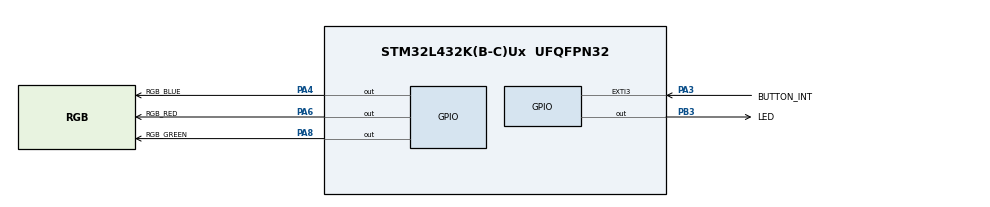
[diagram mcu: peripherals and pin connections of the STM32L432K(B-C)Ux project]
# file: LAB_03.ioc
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Mcu.Family=STM32L4
Mcu.Name=STM32L432K(B-C)Ux
Mcu.Package=UFQFPN32
NVIC.EXTI3_IRQn=true\:0\:0\:false\:false\:true\:true\:true
NVIC.PriorityGroup=NVIC_PRIORITYGROUP_4
PA13\ (JTMS-SWDIO).Mode=Serial_Wire
PA13\ (JTMS-SWDIO).Signal=SYS_JTMS-SWDIO
PA14\ (JTCK-SWCLK).Mode=Serial_Wire
PA14\ (JTCK-SWCLK).Signal=SYS_JTCK-SWCLK
PA3.GPIO_Label=BUTTON_INT
PA3.Signal=GPXTI3
PA4.GPIO_Label=RGB_BLUE
PA4.GPIO_Speed=GPIO_SPEED_FREQ_HIGH
PA4.Signal=GPIO_Output
PA6.GPIO_Label=RGB_RED
PA6.GPIO_Speed=GPIO_SPEED_FREQ_HIGH
PA6.Signal=GPIO_Output
PA8.GPIO_Label=RGB_GREEN
PA8.GPIO_Speed=GPIO_SPEED_FREQ_HIGH
PA8.Signal=GPIO_Output
PB3\ (JTDO-TRACESWO).GPIO_Label=LED
PB3\ (JTDO-TRACESWO).Signal=GPIO_Output
ProjectManager.HeapSize=0x200
ProjectManager.StackSize=0x400
ProjectManager.TargetToolchain=STM32CubeIDE
RCC.HSE_VALUE=8000000
RCC.HSI48_VALUE=48000000
RCC.HSI_VALUE=16000000
RCC.LSE_VALUE=32768
RCC.MSI_VALUE=4000000
RCC.VCOOutputFreq_Value=32000000
board=custom

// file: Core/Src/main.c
/* USER CODE BEGIN Header */
/**
  ******************************************************************************
  * @file           : main.c
  * @brief          : Main program body
  ******************************************************************************
  * @attention
  *
  * <h2><center>&copy; Copyright (c) 2021 STMicroelectronics.
  * All rights reserved.</center></h2>
  *
  * This software component is licensed by ST under BSD 3-Clause license,
  * the "License"; You may not use this file except in compliance with the
  * License. You may obtain a copy of the License at:
  *                        opensource.org/licenses/BSD-3-Clause
  *
  ******************************************************************************
  */
/* USER CODE END Header */
#include "main.h"

/* USER CODE BEGIN PV */
uint8_t flag = 0;
uint8_t switcher = 0;
GPIO_TypeDef * current_Port = 0;
uint16_t current_Pin = 0;
enum switcher {
		RED,
		GREEN,
		BLUE
};
/* USER CODE END PV */

void SystemClock_Config(void);
static void MX_GPIO_Init(void);

int main(void)
{

  /* MCU Configuration--------------------------------------------------------*/

  /* Reset of all peripherals, Initializes the Flash interface and the Systick. */
  HAL_Init();

  /* Configure the system clock */
  SystemClock_Config();

  /* Initialize all configured peripherals */
  MX_GPIO_Init();
  /* USER CODE BEGIN 2 */
  HAL_GPIO_WritePin(RGB_RED_GPIO_Port, RGB_RED_Pin, GPIO_PIN_SET);
  HAL_GPIO_WritePin(RGB_GREEN_GPIO_Port, RGB_GREEN_Pin, GPIO_PIN_SET);
  HAL_GPIO_WritePin(RGB_BLUE_GPIO_Port, RGB_BLUE_Pin, GPIO_PIN_SET);
  /* USER CODE END 2 */

  /* Infinite loop */
  /* USER CODE BEGIN WHILE */
  while (1)
  {
	  if (flag) {
		  // Deactivate previous LED
		  HAL_GPIO_WritePin(current_Port, current_Pin, GPIO_PIN_SET);
		  // Set next LED
		  switch(switcher) {
		  	  case RED:
		  		  current_Port = RGB_RED_GPIO_Port;
		  		  current_Pin = RGB_RED_Pin;
		  		  break;
		  	  case GREEN:
		  		  current_Port = RGB_GREEN_GPIO_Port;
		  		  current_Pin = RGB_GREEN_Pin;
		  		  break;
		  	  case BLUE:
		  		  current_Port = RGB_BLUE_GPIO_Port;
		  		  current_Pin = RGB_BLUE_Pin;
		  		  break;
		  	  }
		  // Activate current LED
		  HAL_GPIO_WritePin(current_Port, current_Pin, GPIO_PIN_RESET);
//		  HAL_GPIO_TogglePin(LED_GPIO_Port, LED_Pin);
		  flag = 0;
		  if(switcher == 3) {
			  HAL_GPIO_WritePin(current_Port, current_Pin, GPIO_PIN_SET);
		  }
		  switcher++;
		  if(switcher > 3) {
			  switcher = 0;
		  }
	  }
    /* USER CODE END WHILE */

  }
}

void SystemClock_Config(void)
{
  RCC_OscInitTypeDef RCC_OscInitStruct = {0};
  RCC_ClkInitTypeDef RCC_ClkInitStruct = {0};

  /** Configure the main internal regulator output voltage
  */
  if (HAL_PWREx_ControlVoltageScaling(PWR_REGULATOR_VOLTAGE_SCALE1) != HAL_OK)
  {
    Error_Handler();
  }
  /** Initializes the RCC Oscillators according to the specified parameters
  * in the RCC_OscInitTypeDef structure.
  */
  RCC_OscInitStruct.OscillatorType = RCC_OSCILLATORTYPE_MSI;
  RCC_OscInitStruct.MSIState = RCC_MSI_ON;
  RCC_OscInitStruct.MSICalibrationValue = 0;
  RCC_OscInitStruct.MSIClockRange = RCC_MSIRANGE_6;
  RCC_OscInitStruct.PLL.PLLState = RCC_PLL_NONE;
  if (HAL_RCC_OscConfig(&RCC_OscInitStruct) != HAL_OK)
  {
    Error_Handler();
  }
  /** Initializes the CPU, AHB and APB buses clocks
  */
  RCC_ClkInitStruct.ClockType = RCC_CLOCKTYPE_HCLK|RCC_CLOCKTYPE_SYSCLK
                              |RCC_CLOCKTYPE_PCLK1|RCC_CLOCKTYPE_PCLK2;
  RCC_ClkInitStruct.SYSCLKSource = RCC_SYSCLKSOURCE_MSI;
  RCC_ClkInitStruct.AHBCLKDivider = RCC_SYSCLK_DIV1;
  RCC_ClkInitStruct.APB1CLKDivider = RCC_HCLK_DIV1;
  RCC_ClkInitStruct.APB2CLKDivider = RCC_HCLK_DIV1;

  if (HAL_RCC_ClockConfig(&RCC_ClkInitStruct, FLASH_LATENCY_0) != HAL_OK)
  {
    Error_Handler();
  }
}

static void MX_GPIO_Init(void)
{
  GPIO_InitTypeDef GPIO_InitStruct = {0};

  /* GPIO Ports Clock Enable */
  __HAL_RCC_GPIOA_CLK_ENABLE();
  __HAL_RCC_GPIOB_CLK_ENABLE();

  /*Configure GPIO pin Output Level */
  HAL_GPIO_WritePin(GPIOA, RGB_BLUE_Pin|RGB_RED_Pin|RGB_GREEN_Pin, GPIO_PIN_RESET);

  /*Configure GPIO pin Output Level */
  HAL_GPIO_WritePin(LED_GPIO_Port, LED_Pin, GPIO_PIN_RESET);

  /*Configure GPIO pin : BUTTON_INT_Pin */
  GPIO_InitStruct.Pin = BUTTON_INT_Pin;
  GPIO_InitStruct.Mode = GPIO_MODE_IT_RISING;
  GPIO_InitStruct.Pull = GPIO_NOPULL;
  HAL_GPIO_Init(BUTTON_INT_GPIO_Port, &GPIO_InitStruct);

  /*Configure GPIO pins : RGB_BLUE_Pin RGB_RED_Pin RGB_GREEN_Pin */
  GPIO_InitStruct.Pin = RGB_BLUE_Pin|RGB_RED_Pin|RGB_GREEN_Pin;
  GPIO_InitStruct.Mode = GPIO_MODE_OUTPUT_PP;
  GPIO_InitStruct.Pull = GPIO_NOPULL;
  GPIO_InitStruct.Speed = GPIO_SPEED_FREQ_HIGH;
  HAL_GPIO_Init(GPIOA, &GPIO_InitStruct);

  /*Configure GPIO pin : LED_Pin */
  GPIO_InitStruct.Pin = LED_Pin;
  GPIO_InitStruct.Mode = GPIO_MODE_OUTPUT_PP;
  GPIO_InitStruct.Pull = GPIO_NOPULL;
  GPIO_InitStruct.Speed = GPIO_SPEED_FREQ_LOW;
  HAL_GPIO_Init(LED_GPIO_Port, &GPIO_InitStruct);

  /* EXTI interrupt init*/
  HAL_NVIC_SetPriority(EXTI3_IRQn, 0, 0);
  HAL_NVIC_EnableIRQ(EXTI3_IRQn);

}

/* USER CODE BEGIN 4 */
void HAL_GPIO_EXTI_Callback(uint16_t GPIO_Pin) {
	if(GPIO_Pin == BUTTON_INT_Pin) {
		flag = 1;
	}
}
/* USER CODE END 4 */

void Error_Handler(void)
{
  __disable_irq();
  while (1)
  {
  }
}

/************************ (C) COPYRIGHT STMicroelectronics *****END OF FILE****/
